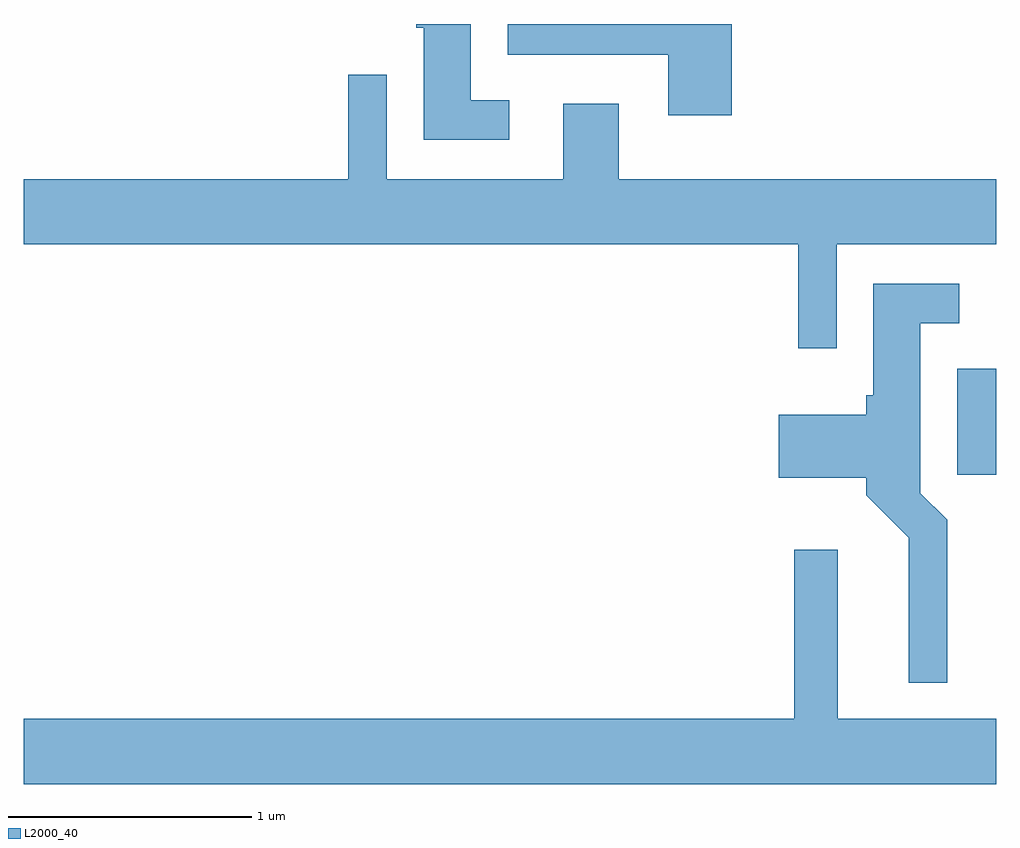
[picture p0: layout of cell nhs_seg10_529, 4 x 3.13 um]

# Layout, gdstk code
import gdstk
lib = gdstk.Library(unit=1e-6, precision=1e-09)
def R(c, l, rs):  # rectangles x0, y0, x1, y1
    for r in rs: c.add(gdstk.rectangle(r[:2], r[2:], *l))
def P(c, l, *ps):  # polygons
    for p in ps: c.add(gdstk.Polygon(p, *l))
L2000_40 = (2000, 40)

nhs_seg10_529 = lib.new_cell('nhs_seg10_529')
R(nhs_seg10_529, L2000_40, [(203.451,2190.668,203.611,2191.104)])
P(nhs_seg10_529, L2000_40, [(202.524,2192.522),(201.601,2192.522),(201.601,2192.396),(202.261,2192.396),(202.261,2192.146),(202.524,2192.146)],
  [(201.608,2192.209),(201.449,2192.209),(201.449,2192.522),(201.226,2192.522),(201.226,2192.506),(201.256,2192.506),(201.256,2192.046),(201.608,2192.046)],
  [(202.954,2191.616),(203.611,2191.616),(203.611,2191.884),(202.059,2191.884),(202.059,2192.194),(201.831,2192.194),(201.831,2191.884),(201.104,2191.884),(201.104,2192.313),(200.946,2192.313),(200.946,2191.884),(199.611,2191.884),(199.611,2191.616),(202.796,2191.616),(202.796,2191.188),(202.954,2191.188)],
  [(203.409,2190.482),(203.299,2190.592),(203.299,2191.291),(203.458,2191.291),(203.458,2191.454),(203.106,2191.454),(203.106,2190.994),(203.076,2190.994),(203.076,2190.914),(202.716,2190.914),(202.716,2190.656),(203.076,2190.656),(203.076,2190.584),(203.251,2190.409),(203.251,2189.813),(203.409,2189.813)],
  [(203.611,2189.664),(202.959,2189.664),(202.959,2190.359),(202.781,2190.359),(202.781,2189.664),(199.611,2189.664),(199.611,2189.396),(203.611,2189.396)])

lib.write_gds('nhs_seg10_529.gds')
